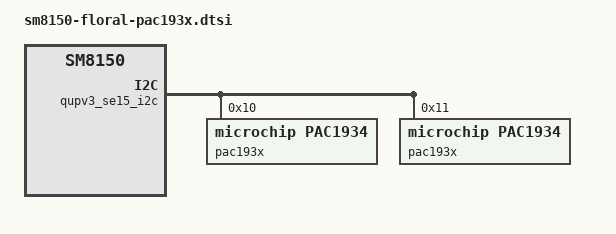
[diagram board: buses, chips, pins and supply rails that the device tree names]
/* Copyright (c) 2018, The Linux Foundation. All rights reserved.
 *
 * This program is free software; you can redistribute it and/or modify
 * it under the terms of the GNU General Public License version 2 and
 * only version 2 as published by the Free Software Foundation.
 *
 * This program is distributed in the hope that it will be useful,
 * but WITHOUT ANY WARRANTY; without even the implied warranty of
 * MERCHANTABILITY or FITNESS FOR A PARTICULAR PURPOSE.  See the
 * GNU General Public License for more details.
 */

&qupv3_se15_i2c {
	status = "ok";
	// see -qup.dtsi for clk-freq-out setting
	pac193x@10 {
		compatible = "microchip,pac1934";
		reg = <0x10>;
		samp-rate = <8>;
		status = "okay";

		ch1: channel@0 {
		     uohms-shunt-res = <10000>;
		     rail-name = "CPU";
		     channel_enabled;
		};

		ch2: channel@1 {
		     uohms-shunt-res = <10000>;
		     rail-name = "GPU";
		     channel_enabled;
		};

		ch3: channel@2 {
		     bi-dir;
		     uohms-shunt-res = <100000>;
		     rail-name = "MEM";
		};

		ch4: channel@3 {
		     uohms-shunt-res = <10000>;
		     rail-name = "NET";
		     channel_enabled;
		};
	};

	pac193x@11 {
		compatible = "microchip,pac1934";
		reg = <0x11>;
		samp-rate = <8>;
		status = "okay";

		ch5: channel@0 {
		     uohms-shunt-res = <10000>;
		     rail-name = "CPU2";
		     channel_enabled;
		};

		ch6: channel@1 {
		     uohms-shunt-res = <10000>;
		     rail-name = "GPU2";
		     channel_enabled;
		};

		ch7: channel@2 {
		     bi-dir;
		     uohms-shunt-res = <100000>;
		     rail-name = "MEM2";
		};

		ch8: channel@3 {
		     uohms-shunt-res = <10000>;
		     rail-name = "NET2";
		     channel_enabled;
		};
	};
};
